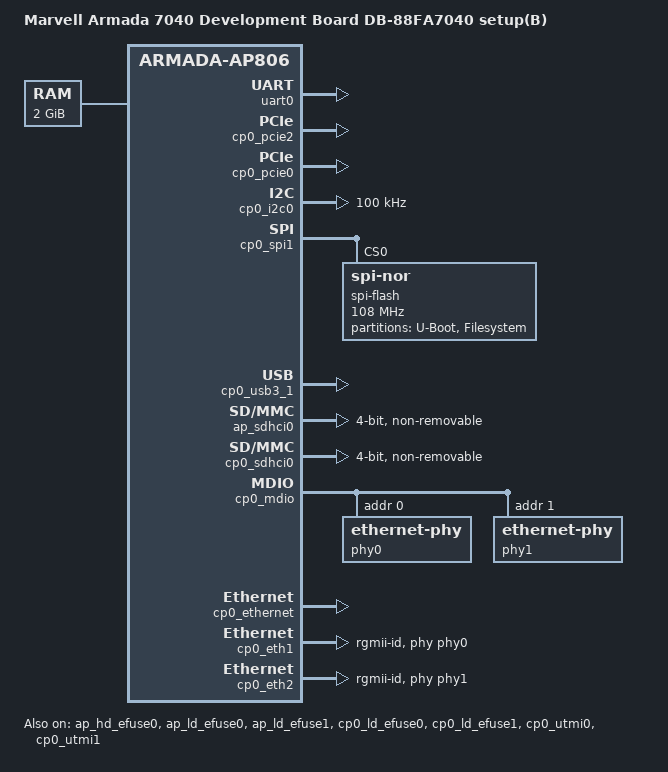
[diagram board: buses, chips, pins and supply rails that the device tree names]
/*
 * Copyright (C) 2016 Marvell Technology Group Ltd.
 *
 * This file is dual-licensed: you can use it either under the terms
 * of the GPLv2 or the X11 license, at your option. Note that this dual
 * licensing only applies to this file, and not this project as a
 * whole.
 *
 *  a) This library is free software; you can redistribute it and/or
 *     modify it under the terms of the GNU General Public License as
 *     published by the Free Software Foundation; either version 2 of the
 *     License, or (at your option) any later version.
 *
 *     This library is distributed in the hope that it will be useful,
 *     but WITHOUT ANY WARRANTY; without even the implied warranty of
 *     MERCHANTABILITY or FITNESS FOR A PARTICULAR PURPOSE.  See the
 *     GNU General Public License for more details.
 *
 * Or, alternatively,
 *
 *  b) Permission is hereby granted, free of charge, to any person
 *     obtaining a copy of this software and associated documentation
 *     files (the "Software"), to deal in the Software without
 *     restriction, including without limitation the rights to use,
 *     copy, modify, merge, publish, distribute, sublicense, and/or
 *     sell copies of the Software, and to permit persons to whom the
 *     Software is furnished to do so, subject to the following
 *     conditions:
 *
 *     The above copyright notice and this permission notice shall be
 *     included in all copies or substantial portions of the Software.
 *
 *     THE SOFTWARE IS PROVIDED "AS IS", WITHOUT WARRANTY OF ANY KIND,
 *     EXPRESS OR IMPLIED, INCLUDING BUT NOT LIMITED TO THE WARRANTIES
 *     OF MERCHANTABILITY, FITNESS FOR A PARTICULAR PURPOSE AND
 *     NONINFRINGEMENT. IN NO EVENT SHALL THE AUTHORS OR COPYRIGHT
 *     HOLDERS BE LIABLE FOR ANY CLAIM, DAMAGES OR OTHER LIABILITY,
 *     WHETHER IN AN ACTION OF CONTRACT, TORT OR OTHERWISE, ARISING
 *     FROM, OUT OF OR IN CONNECTION WITH THE SOFTWARE OR THE USE OR
 *     OTHER DEALINGS IN THE SOFTWARE.
 */

/*
 * Device Tree file for Marvell Armada 7040 Development board platform
 * Boot device: SPI NOR, 0x32 (SW3)
 */

#include "armada-70x0-db.dtsi"

/ {
	model = "Marvell Armada 7040 Development Board DB-88FA7040 setup(B)";
	compatible = "marvell,armada7040-db", "marvell,armada7040",
		     "marvell,armada-ap806-quad", "marvell,armada-ap806";

	chosen {
		stdout-path = "serial0:115200n8";
	};

	aliases {
		i2c0 = &cp0_i2c0;
		spi0 = &cp0_spi1;
		fuse0 = &ap_hd_efuse0;
		fuse1 = &ap_ld_efuse0;
		fuse2 = &ap_ld_efuse1;
		fuse3 = &cp0_ld_efuse0;
		fuse4 = &cp0_ld_efuse1;
	};

	memory@00000000 {
		device_type = "memory";
		reg = <0x0 0x0 0x0 0x80000000>;
	};
};

&ap_pinctl {
	   /* MPP Bus:
	    * SDIO  [0-5]
	    * UART0 [11,19]
	    */
		  /* 0 1 2 3 4 5 6 7 8 9 */
	pin-func = < 1 1 1 1 1 1 0 0 0 0
		     0 3 0 0 0 0 0 0 0 3 >;
};

&uart0 {
	status = "okay";
};

&ap_hd_efuse0 {
	status = "okay";
};

&ap_ld_efuse0 {
	status = "okay";
};

&ap_ld_efuse1 {
	status = "okay";
};

&cp0_pcie2 {
	status = "okay";
};

&cp0_pcie0 {
	status = "okay";
};

&cp0_i2c0 {
	pinctrl-names = "default";
	pinctrl-0 = <&cp0_i2c0_pins>;
	status = "okay";
	clock-frequency = <100000>;
};

&cp0_pinctl {
		/* MPP Bus:
		 * RGMII1 [0-11]
		 * SPI    [13-16]
		 * SATA1  [28]
		 * UART0  [29-30]
		 * SMI	  [32,34]
		 * XSMI   [35-36]
		 * I2C	  [37-38]
		 * RGMII2 [44-55]
		 * SD	  [56-61]
		 * GPIO   [62]
		 */
		/*   0   1   2   3   4   5   6   7   8   9 */
	pin-func = < 3   3   3   3   3   3   3   3   3   3
		     3   3   0   3   3   3   3   0   0   0
		     0   0   0   0   0   0   0   0   9   0xA
		     0xA 0   7   0   7   7   7   2   2   0
		     0   0   0   0   1   1   1   1   1   1
		     1   1   1   1   1   1   0xE 0xE 0xE 0xE
		     0xE 0xE 0>;
};

&cp0_spi1 {
	pinctrl-names = "default";
	pinctrl-0 = <&cp0_spi0_pins>;
	reg = <0x700680 0x50>,		/* control */
	      <0x2000000 0x1000000>,	/* CS0 */
	      <0 0xffffffff>,		/* CS1 */
	      <0 0xffffffff>,		/* CS2 */
	      <0 0xffffffff>;		/* CS3 */
	status = "okay";

	spi-flash@0 {
		#address-cells = <0x1>;
		#size-cells = <0x1>;
		compatible = "jedec,spi-nor", "spi-flash";
		reg = <0x0>;
		spi-max-frequency = <108000000>;

		partitions {
			compatible = "fixed-partitions";
			#address-cells = <1>;
			#size-cells = <1>;

			partition@0 {
				label = "U-Boot";
				reg = <0x0 0x200000>;
			};

			partition@400000 {
				label = "Filesystem";
				reg = <0x200000 0xe00000>;
			};
		};
	};
};

&cp0_ld_efuse0 {
	status = "okay";
};

&cp0_ld_efuse1 {
	status = "okay";
};

&cp0_usb3_1 {
	status = "okay";
};

&cp0_comphy {
	phy0 {
		phy-type = <COMPHY_TYPE_PEX0>;
		phy-speed = <COMPHY_SPEED_5G>;
	};

	phy1 {
		phy-type = <COMPHY_TYPE_PEX0>;
		phy-speed = <COMPHY_SPEED_5G>;
	};

	phy2 {
		phy-type = <COMPHY_TYPE_PEX0>;
		phy-speed = <COMPHY_SPEED_5G>;
	};

	phy3 {
		phy-type = <COMPHY_TYPE_PEX0>;
		phy-speed = <COMPHY_SPEED_5G>;
	};

	phy4 {
		phy-type = <COMPHY_TYPE_USB3_HOST1>;
		phy-speed = <COMPHY_SPEED_5G>;
	};

	phy5 {
		phy-type = <COMPHY_TYPE_PEX2>;
		phy-speed = <COMPHY_SPEED_5G>;
	};
};

&cp0_utmi0 {
	status = "okay";
};

&cp0_utmi1 {
	status = "okay";
};

&ap_sdhci0 {
	status = "okay";
	bus-width = <4>;
	no-1-8-v;
	non-removable;
};

&cp0_sdhci0 {
	status = "okay";
	bus-width = <4>;
	no-1-8-v;
	non-removable;
};

&cp0_mdio {
	status = "okay";
	phy0: ethernet-phy@0 {
		reg = <0>;
	};
	phy1: ethernet-phy@1 {
		reg = <1>;
	};
};

&cp0_ethernet {
	status = "okay";
};

&cp0_eth1 {
	status = "okay";
	phy = <&phy0>;
	phy-mode = "rgmii-id";
};

&cp0_eth2 {
	status = "okay";
	phy = <&phy1>;
	phy-mode = "rgmii-id";
};
